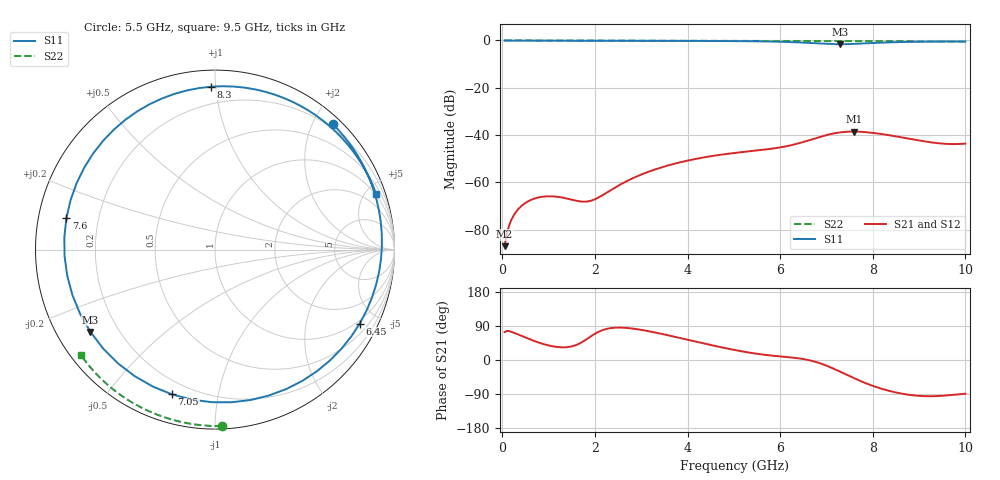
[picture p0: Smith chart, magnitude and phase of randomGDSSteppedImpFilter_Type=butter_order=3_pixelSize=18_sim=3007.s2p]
! freq	dB(S11)	phase(S11)	dB(S12)	phase(S12)
!  dB(S21)	phase(S21)	dB(S22)	phase(S22)
!S-par simulation data
#  GHz  S  DB  R 50
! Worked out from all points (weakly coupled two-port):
!   200 points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, 50 MHz to 10 GHz, reference 50 ohm
!   highest |S21| = -38.49 dB at 7.6 GHz (marker M1); lowest = -86.9 dB at 50 MHz (marker M2)
!   lowest |S11| = -1.6 dB at 7.3 GHz (marker M3), VSWR 10.89, Z = 5 - j14.9 ohm
!   |S11| at or under -10 dB: nowhere
!   |S22| runs from -0.5 to 0.0 dB; largest |S21 - S12| = 0
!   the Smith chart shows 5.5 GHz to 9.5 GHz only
!   S11 on the Smith chart (normalised r, x): 5.5 GHz: 0.13, +2.30; 6.45 GHz: 0.87, -3.97; 7.05 GHz: 0.13, -0.74; 7.6 GHz: 0.08, +0.10; 8.3 GHz: 0.09, +0.97; 9.5 GHz: 0.93, +5.85
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0.05  -0.02 -5.3  -86.90 73.8  -86.90 73.8  -0.00 -0.9
0.45  -0.07 -48.0  -69.34 61.8  -69.34 61.8  -0.01 -7.7
0.8  -0.09 -80.6  -66.25 45.5  -66.25 45.5  -0.02 -13.7
1.3  -0.11 -118.3  -66.38 33.4  -66.38 33.4  -0.03 -22.1
1.75  -0.12 -145.1  -68.11 49.2  -68.11 49.2  -0.04 -29.6
2.5  -0.13 178.9  -61.40 85.5  -61.40 85.5  -0.05 -42.0
3.4  -0.16 141.9  -53.85 70.0  -53.85 70.0  -0.08 -56.3
4.3  -0.20 105.3  -49.59 45.1  -49.59 45.1  -0.10 -70.1
5.05  -0.28 71.2  -47.44 25.6  -47.44 25.6  -0.13 -81.2
5.5  -0.36 46.9  -46.48 16.4  -46.48 16.4  -0.14 -87.8
6.05  -0.57 9.5  -45.01 8.9  -45.01 8.9  -0.17 -95.5
6.45  -0.86 -27.1  -43.18 3.4  -43.18 3.4  -0.19 -101.1
6.7  -1.13 -56.3  -41.70 -2.8  -41.70 -2.8  -0.20 -104.5
7.05  -1.50 -106.6  -39.73 -17.4  -39.73 -17.4  -0.23 -109.3
7.3  -1.60 -146.5  -38.82 -31.2  -38.82 -31.2  -0.24 -112.7
7.6  -1.45 168.0  -38.49 -48.4  -38.49 -48.4  -0.26 -116.7
7.95  -1.12 124.6  -38.93 -66.0  -38.93 -66.0  -0.29 -121.3
8.3  -0.84 91.4  -39.86 -79.7  -39.86 -79.7  -0.32 -125.9
8.35  -0.81 87.3  -40.01 -81.3  -40.01 -81.3  -0.33 -126.6
8.9  -0.56 49.9  -41.90 -93.5  -41.90 -93.5  -0.38 -133.8
9.5  -0.45 18.9  -43.58 -94.4  -43.58 -94.4  -0.44 -141.7
10  -0.42 -2.5  -43.58 -88.9  -43.58 -88.9  -0.50 -148.3
